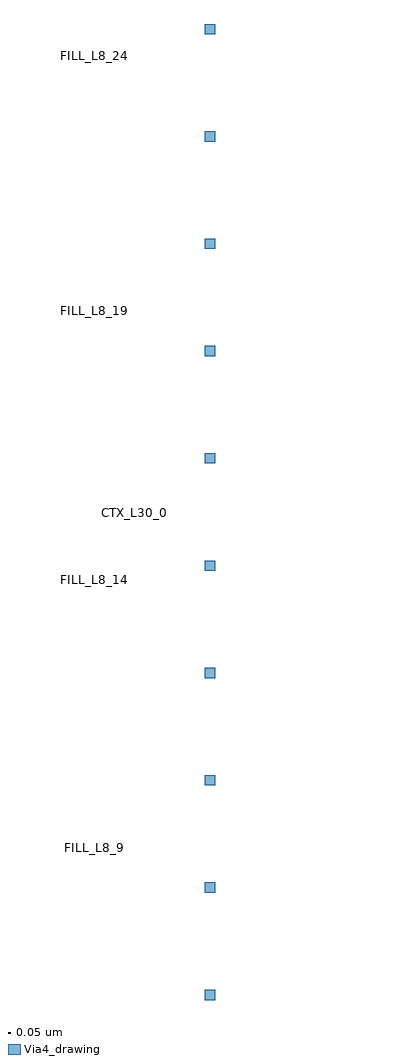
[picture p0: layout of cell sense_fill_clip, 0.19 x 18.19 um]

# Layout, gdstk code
import gdstk
lib = gdstk.Library(unit=1e-6, precision=1e-09)
def R(c, l, rs):  # rectangles x0, y0, x1, y1
    for r in rs: c.add(gdstk.rectangle(r[:2], r[2:], *l))
def A(c, l, x, y, w, h, nx, ny, dx, dy):  # array of equal rectangles
    R(c, l, [(x+i*dx, y+j*dy, x+i*dx+w, y+j*dy+h) for i in range(nx) for j in range(ny)])
Via4_drawing = (66, 0)

sense_fill_clip = lib.new_cell('sense_fill_clip')
A(sense_fill_clip, Via4_drawing, 1033.805, 468.905, 0.19, 0.19, 1, 10, 0, 2)
sense_fill_clip.add(gdstk.Label('FILL_L8_24', (1031.75,486.5), layer=8, texttype=25))
sense_fill_clip.add(gdstk.Label('FILL_L8_22', (1021.75,486.5), layer=8, texttype=25))
sense_fill_clip.add(gdstk.Label('FILL_L8_19', (1031.75,481.75), layer=8, texttype=25))
sense_fill_clip.add(gdstk.Label('FILL_L8_18', (1026.75,481.75), layer=8, texttype=25))
sense_fill_clip.add(gdstk.Label('FILL_L8_16', (1016.75,481.75), layer=8, texttype=25))
sense_fill_clip.add(gdstk.Label('FILL_L8_15', (1011.75,481.75), layer=8, texttype=25))
sense_fill_clip.add(gdstk.Label('FILL_L8_14', (1031.75,476.75), layer=8, texttype=25))
sense_fill_clip.add(gdstk.Label('FILL_L8_13', (1026.75,476.75), layer=8, texttype=25))
sense_fill_clip.add(gdstk.Label('FILL_L8_0', (1011.75,468.25), layer=8, texttype=25))
sense_fill_clip.add(gdstk.Label('FILL_L8_11', (1016.75,476.75), layer=8, texttype=25))
sense_fill_clip.add(gdstk.Label('FILL_L8_20', (1011.75,486.5), layer=8, texttype=25))
sense_fill_clip.add(gdstk.Label('FILL_L8_2', (1021.75,468.25), layer=8, texttype=25))
sense_fill_clip.add(gdstk.Label('FILL_L8_23', (1026.75,486.5), layer=8, texttype=25))
sense_fill_clip.add(gdstk.Label('FILL_L8_1', (1016.75,468.25), layer=8, texttype=25))
sense_fill_clip.add(gdstk.Label('FILL_L8_3', (1026.75,468.25), layer=8, texttype=25))
sense_fill_clip.add(gdstk.Label('FILL_L8_21', (1016.75,486.5), layer=8, texttype=25))
sense_fill_clip.add(gdstk.Label('FILL_L8_12', (1021.75,476.75), layer=8, texttype=25))
sense_fill_clip.add(gdstk.Label('FILL_L8_5', (1011.75,471.75), layer=8, texttype=25))
sense_fill_clip.add(gdstk.Label('FILL_L8_6', (1016.75,471.75), layer=8, texttype=25))
sense_fill_clip.add(gdstk.Label('FILL_L8_4', (1031.75,468.25), layer=8, texttype=25))
sense_fill_clip.add(gdstk.Label('FILL_L8_7', (1021.75,471.75), layer=8, texttype=25))
sense_fill_clip.add(gdstk.Label('FILL_L8_8', (1026.75,471.75), layer=8, texttype=25))
sense_fill_clip.add(gdstk.Label('FILL_L8_17', (1021.75,481.75), layer=8, texttype=25))
sense_fill_clip.add(gdstk.Label('FILL_L8_9', (1031.75,471.75), layer=8, texttype=25))
sense_fill_clip.add(gdstk.Label('FILL_L8_10', (1011.75,476.75), layer=8, texttype=25))
sense_fill_clip.add(gdstk.Label('FILL_L10_16', (1016.75,481.75), layer=10, texttype=25))
sense_fill_clip.add(gdstk.Label('FILL_L10_22', (1021.75,486.5), layer=10, texttype=25))
sense_fill_clip.add(gdstk.Label('FILL_L10_17', (1021.75,481.75), layer=10, texttype=25))
sense_fill_clip.add(gdstk.Label('FILL_L10_13', (1026.75,476.75), layer=10, texttype=25))
sense_fill_clip.add(gdstk.Label('FILL_L10_24', (1031.75,486.5), layer=10, texttype=25))
sense_fill_clip.add(gdstk.Label('FILL_L10_0', (1011.75,468.25), layer=10, texttype=25))
sense_fill_clip.add(gdstk.Label('FILL_L10_1', (1016.75,468.25), layer=10, texttype=25))
sense_fill_clip.add(gdstk.Label('FILL_L10_6', (1016.75,471.75), layer=10, texttype=25))
sense_fill_clip.add(gdstk.Label('FILL_L10_21', (1016.75,486.5), layer=10, texttype=25))
sense_fill_clip.add(gdstk.Label('FILL_L10_2', (1021.75,468.25), layer=10, texttype=25))
sense_fill_clip.add(gdstk.Label('FILL_L10_20', (1011.75,486.5), layer=10, texttype=25))
sense_fill_clip.add(gdstk.Label('FILL_L10_3', (1026.75,468.25), layer=10, texttype=25))
sense_fill_clip.add(gdstk.Label('FILL_L10_18', (1026.75,481.75), layer=10, texttype=25))
sense_fill_clip.add(gdstk.Label('FILL_L10_15', (1011.75,481.75), layer=10, texttype=25))
sense_fill_clip.add(gdstk.Label('FILL_L10_4', (1031.75,468.25), layer=10, texttype=25))
sense_fill_clip.add(gdstk.Label('FILL_L10_10', (1011.75,476.75), layer=10, texttype=25))
sense_fill_clip.add(gdstk.Label('FILL_L10_19', (1031.75,481.75), layer=10, texttype=25))
sense_fill_clip.add(gdstk.Label('FILL_L10_5', (1011.75,471.75), layer=10, texttype=25))
sense_fill_clip.add(gdstk.Label('FILL_L10_7', (1021.75,471.75), layer=10, texttype=25))
sense_fill_clip.add(gdstk.Label('FILL_L10_12', (1021.75,476.75), layer=10, texttype=25))
sense_fill_clip.add(gdstk.Label('FILL_L10_8', (1026.75,471.75), layer=10, texttype=25))
sense_fill_clip.add(gdstk.Label('FILL_L10_9', (1031.75,471.75), layer=10, texttype=25))
sense_fill_clip.add(gdstk.Label('FILL_L10_23', (1026.75,486.5), layer=10, texttype=25))
sense_fill_clip.add(gdstk.Label('FILL_L10_14', (1031.75,476.75), layer=10, texttype=25))
sense_fill_clip.add(gdstk.Label('FILL_L10_11', (1016.75,476.75), layer=10, texttype=25))
sense_fill_clip.add(gdstk.Label('FILL_L30_15', (1026.5,486.5), layer=30, texttype=25))
sense_fill_clip.add(gdstk.Label('FILL_L30_14', (1026.5,483.5), layer=30, texttype=25))
sense_fill_clip.add(gdstk.Label('FILL_L30_13', (1022,482), layer=30, texttype=25))
sense_fill_clip.add(gdstk.Label('FILL_L30_16', (1011,487), layer=30, texttype=25))
sense_fill_clip.add(gdstk.Label('FILL_L30_12', (1016,482), layer=30, texttype=25))
sense_fill_clip.add(gdstk.Label('FILL_L30_1', (1011,470), layer=30, texttype=25))
sense_fill_clip.add(gdstk.Label('FILL_L30_17', (1016,487), layer=30, texttype=25))
sense_fill_clip.add(gdstk.Label('FILL_L30_2', (1016,470), layer=30, texttype=25))
sense_fill_clip.add(gdstk.Label('FILL_L30_8', (1022,476), layer=30, texttype=25))
sense_fill_clip.add(gdstk.Label('FILL_L30_9', (1026.5,477.5), layer=30, texttype=25))
sense_fill_clip.add(gdstk.Label('FILL_L30_0', (1026.5,468.5), layer=30, texttype=25))
sense_fill_clip.add(gdstk.Label('FILL_L30_5', (1026.5,474.5), layer=30, texttype=25))
sense_fill_clip.add(gdstk.Label('FILL_L30_3', (1022,470), layer=30, texttype=25))
sense_fill_clip.add(gdstk.Label('FILL_L30_6', (1011,476), layer=30, texttype=25))
sense_fill_clip.add(gdstk.Label('FILL_L30_18', (1022,487), layer=30, texttype=25))
sense_fill_clip.add(gdstk.Label('FILL_L30_4', (1026.5,471.5), layer=30, texttype=25))
sense_fill_clip.add(gdstk.Label('FILL_L30_10', (1026.5,480.5), layer=30, texttype=25))
sense_fill_clip.add(gdstk.Label('FILL_L30_7', (1016,476), layer=30, texttype=25))
sense_fill_clip.add(gdstk.Label('CTX_L30_0', (1032.5,478), layer=30, texttype=25))
sense_fill_clip.add(gdstk.Label('FILL_L30_11', (1011,482), layer=30, texttype=25))
sense_fill_clip.add(gdstk.Label('FILL_L50_12', (1026.5,486.5), layer=50, texttype=25))
sense_fill_clip.add(gdstk.Label('FILL_L50_14', (1016,487), layer=50, texttype=25))
sense_fill_clip.add(gdstk.Label('FILL_L50_13', (1011,487), layer=50, texttype=25))
sense_fill_clip.add(gdstk.Label('FILL_L50_1', (1011,470), layer=50, texttype=25))
sense_fill_clip.add(gdstk.Label('N', (1021,478), layer=50, texttype=25))
sense_fill_clip.add(gdstk.Label('FILL_L50_8', (1026.5,480.5), layer=50, texttype=25))
sense_fill_clip.add(gdstk.Label('FILL_L50_2', (1016,470), layer=50, texttype=25))
sense_fill_clip.add(gdstk.Label('CTX_L50_2', (1032.5,478), layer=50, texttype=25))
sense_fill_clip.add(gdstk.Label('FILL_L50_3', (1026.5,471.5), layer=50, texttype=25))
sense_fill_clip.add(gdstk.Label('FILL_L50_4', (1026.5,474.5), layer=50, texttype=25))
sense_fill_clip.add(gdstk.Label('FILL_L50_5', (1011,476), layer=50, texttype=25))
sense_fill_clip.add(gdstk.Label('FILL_L50_10', (1016,482), layer=50, texttype=25))
sense_fill_clip.add(gdstk.Label('FILL_L50_6', (1016,476), layer=50, texttype=25))
sense_fill_clip.add(gdstk.Label('FILL_L50_7', (1026.5,477.5), layer=50, texttype=25))
sense_fill_clip.add(gdstk.Label('FILL_L50_11', (1026.5,483.5), layer=50, texttype=25))
sense_fill_clip.add(gdstk.Label('FILL_L50_9', (1011,482), layer=50, texttype=25))
sense_fill_clip.add(gdstk.Label('FILL_L50_0', (1026.5,468.5), layer=50, texttype=25))
sense_fill_clip.add(gdstk.Label('P', (1024.5,478), layer=50, texttype=25))
sense_fill_clip.add(gdstk.Label('FILL_L67_18', (1022,487), layer=67, texttype=25))
sense_fill_clip.add(gdstk.Label('FILL_L67_17', (1016,487), layer=67, texttype=25))
sense_fill_clip.add(gdstk.Label('FILL_L67_16', (1011,487), layer=67, texttype=25))
sense_fill_clip.add(gdstk.Label('FILL_L67_14', (1026.5,483.5), layer=67, texttype=25))
sense_fill_clip.add(gdstk.Label('FILL_L67_13', (1022,482), layer=67, texttype=25))
sense_fill_clip.add(gdstk.Label('FILL_L67_12', (1016,482), layer=67, texttype=25))
sense_fill_clip.add(gdstk.Label('FILL_L67_4', (1026.5,471.5), layer=67, texttype=25))
sense_fill_clip.add(gdstk.Label('FILL_L67_15', (1026.5,486.5), layer=67, texttype=25))
sense_fill_clip.add(gdstk.Label('FILL_L67_1', (1011,470), layer=67, texttype=25))
sense_fill_clip.add(gdstk.Label('FILL_L67_2', (1016,470), layer=67, texttype=25))
sense_fill_clip.add(gdstk.Label('FILL_L67_9', (1026.5,477.5), layer=67, texttype=25))
sense_fill_clip.add(gdstk.Label('FILL_L67_3', (1022,470), layer=67, texttype=25))
sense_fill_clip.add(gdstk.Label('FILL_L67_0', (1026.5,468.5), layer=67, texttype=25))
sense_fill_clip.add(gdstk.Label('CTX_L67_0', (1032.5,478), layer=67, texttype=25))
sense_fill_clip.add(gdstk.Label('FILL_L67_5', (1026.5,474.5), layer=67, texttype=25))
sense_fill_clip.add(gdstk.Label('FILL_L67_6', (1011,476), layer=67, texttype=25))
sense_fill_clip.add(gdstk.Label('FILL_L67_7', (1016,476), layer=67, texttype=25))
sense_fill_clip.add(gdstk.Label('FILL_L67_8', (1022,476), layer=67, texttype=25))
sense_fill_clip.add(gdstk.Label('FILL_L67_10', (1026.5,480.5), layer=67, texttype=25))
sense_fill_clip.add(gdstk.Label('FILL_L67_11', (1011,482), layer=67, texttype=25))
sense_fill_clip.add(gdstk.Label('CTX_L126_0', (1017.92,478), layer=126, texttype=25))
sense_fill_clip.add(gdstk.Label('CTX_L126_1', (1032.5,478), layer=126, texttype=25))
sense_fill_clip.add(gdstk.Label('CTX_L134_0', (1022,484.165), layer=134, texttype=25))

lib.write_gds('sense_fill_clip.gds')
